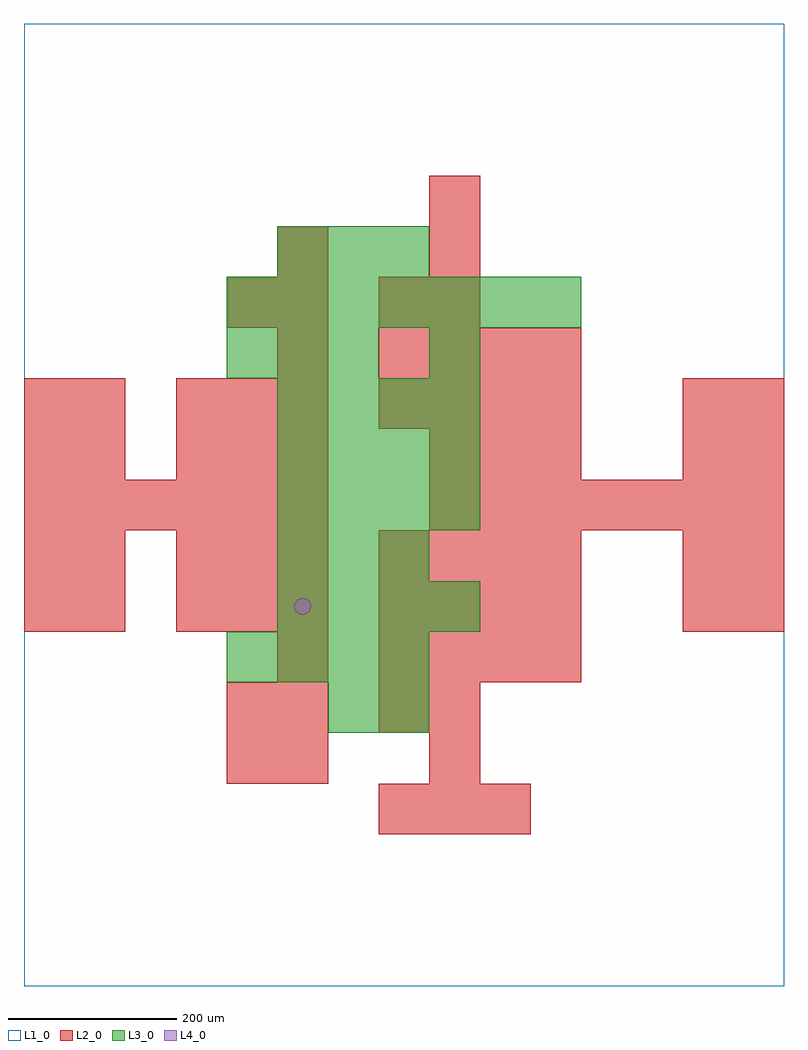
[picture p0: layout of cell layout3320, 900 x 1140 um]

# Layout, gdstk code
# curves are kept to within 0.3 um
import gdstk
lib = gdstk.Library(unit=1e-6, precision=1e-09)
def R(c, l, rs):  # rectangles x0, y0, x1, y1
    for r in rs: c.add(gdstk.rectangle(r[:2], r[2:], *l))
def A(c, l, x, y, w, h, nx, ny, dx, dy):  # array of equal rectangles
    R(c, l, [(x+i*dx, y+j*dy, x+i*dx+w, y+j*dy+h) for i in range(nx) for j in range(ny)])
def P(c, l, *ps):  # polygons
    for p in ps: c.add(gdstk.Polygon(p, *l))
L1_0 = (1, 0)
L2_0 = (2, 0)
L3_0 = (3, 0)
L4_0 = (4, 0)

layout3320 = lib.new_cell('layout3320')
R(layout3320, L1_0, [(0,0,900,1140)])
A(layout3320, L2_0, 420, 180, 60, 60, 3, 1, 60, 0)
A(layout3320, L2_0, 300, 240, 60, 60, 1, 3, 0, 60)
A(layout3320, L2_0, 420, 360, 60, 60, 4, 3, 60, 60)
A(layout3320, L2_0, 180, 420, 60, 60, 3, 2, 60, 60)
A(layout3320, L2_0, 0, 540, 60, 60, 6, 1, 60, 0)
A(layout3320, L2_0, 480, 540, 60, 60, 7, 1, 60, 0)
A(layout3320, L2_0, 180, 600, 60, 60, 3, 2, 60, 60)
A(layout3320, L2_0, 480, 600, 60, 60, 3, 1, 60, 0)
A(layout3320, L2_0, 420, 660, 60, 60, 4, 2, 60, 60)
A(layout3320, L2_0, 300, 720, 60, 60, 1, 3, 0, 60)
A(layout3320, L2_0, 480, 780, 60, 60, 1, 3, 0, 60)
R(layout3320, L2_0, [(240,240,300,300), (480,240,540,300), (240,300,300,360), (420,300,480,360), (480,300,540,360), (0,420,60,480), (60,420,120,480), (780,420,840,480), (840,420,900,480), (0,480,60,540), (60,480,120,540), (780,480,840,540), (840,480,900,540), (0,600,60,660), (60,600,120,660), (780,600,840,660), (840,600,900,660), (0,660,60,720), (60,660,120,720), (780,660,840,720), (840,660,900,720), (240,780,300,840), (420,780,480,840)])
A(layout3320, L3_0, 240, 360, 60, 60, 4, 1, 60, 0)
A(layout3320, L3_0, 300, 420, 60, 60, 4, 2, 60, 120)
A(layout3320, L3_0, 300, 480, 60, 60, 3, 2, 60, 360)
A(layout3320, L3_0, 300, 600, 60, 60, 4, 2, 60, 60)
A(layout3320, L3_0, 240, 720, 60, 60, 3, 1, 60, 0)
A(layout3320, L3_0, 240, 780, 60, 60, 7, 1, 60, 0)
R(layout3320, L3_0, [(360,300,420,360), (420,300,480,360), (480,720,540,780)])
P(layout3320, L4_0, [(340,450),(339.239,453.827),(337.071,457.071),(333.827,459.239),(330,460),(326.173,459.239),(322.929,457.071),(320.761,453.827),(320,450),(320.761,446.173),(322.929,442.929),(326.173,440.761),(330,440),(333.827,440.761),(337.071,442.929),(339.239,446.173)])

lib.write_gds('layout3320.gds')
